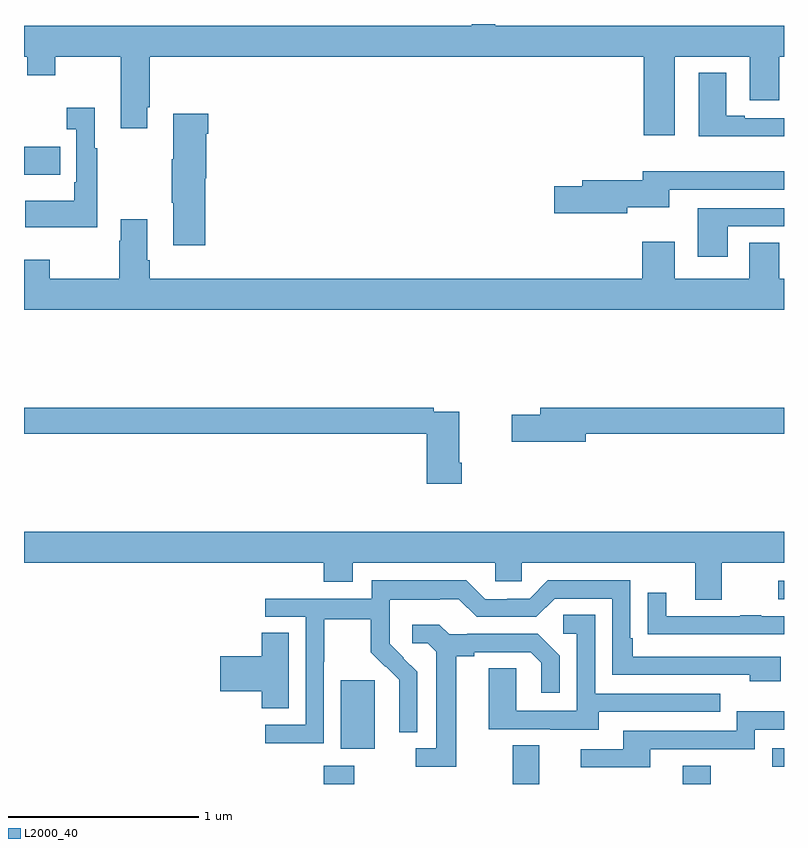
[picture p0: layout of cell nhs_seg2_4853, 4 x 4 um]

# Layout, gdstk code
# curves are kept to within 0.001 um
import gdstk
lib = gdstk.Library(unit=1e-6, precision=1e-09)
def R(c, l, rs):  # rectangles x0, y0, x1, y1
    for r in rs: c.add(gdstk.rectangle(r[:2], r[2:], *l))
def P(c, l, *ps):  # polygons
    for p in ps: c.add(gdstk.Polygon(p, *l))
L2000_40 = (2000, 40)

nhs_seg2_4853 = lib.new_cell('nhs_seg2_4853')
R(nhs_seg2_4853, L2000_40, [(376.577,651.8,376.737,651.895), (377.573,651.8,377.713,652.004), (378.467,651.8,378.615,651.895), (378.939,651.891,379,651.987), (376.667,651.986,376.846,652.347), (378.969,652.773,379,652.869), (375,655.007,375.191,655.155)])
P(nhs_seg2_4853, L2000_40, [(377.479,655.8),(377.357,655.8),(377.357,655.792),(375,655.792),(375,655.628),(375.017,655.628),(375.017,655.529),(375.165,655.529),(375.165,655.628),(375.509,655.628),(375.509,655.251),(375.649,655.251),(375.649,655.363),(375.662,655.363),(375.662,655.628),(378.263,655.628),(378.263,655.215),(378.424,655.215),(378.424,655.628),(378.821,655.628),(378.821,655.398),(378.976,655.398),(378.976,655.628),(379,655.628),(379,655.792),(377.479,655.792)],
  [(379,655.305),(378.793,655.305),(378.793,655.318),(378.697,655.318),(378.697,655.543),(378.551,655.543),(378.551,655.208),(379,655.208)],
  [(375.385,655.147),(375.373,655.147),(375.373,655.36),(375.225,655.36),(375.225,655.247),(375.276,655.247),(375.276,654.967),(375.264,654.967),(375.264,654.871),(375.007,654.871),(375.007,654.731),(375.385,654.731)],
  [(375.953,654.987),(375.958,654.987),(375.958,655.223),(375.971,655.223),(375.971,655.327),(375.785,655.327),(375.785,655.087),(375.778,655.087),(375.778,654.859),(375.785,654.859),(375.785,654.636),(375.953,654.636)],
  [(378.174,654.836),(378.397,654.836),(378.397,654.927),(379,654.927),(379,655.025),(378.257,655.025),(378.257,654.977),(377.939,654.977),(377.939,654.947),(377.79,654.947),(377.79,654.805),(378.174,654.805)],
  [(378.703,654.735),(379,654.735),(379,654.831),(378.545,654.831),(378.545,654.576),(378.703,654.576)],
  [(379,654.46),(378.976,654.46),(378.976,654.65),(378.818,654.65),(378.818,654.46),(378.424,654.46),(378.424,654.655),(378.254,654.655),(378.254,654.46),(375.662,654.46),(375.662,654.556),(375.649,654.556),(375.649,654.772),(375.509,654.772),(375.509,654.659),(375.502,654.659),(375.502,654.46),(375.135,654.46),(375.135,654.559),(375,654.559),(375,654.296),(379,654.296)],
  [(377.956,653.644),(379,653.644),(379,653.78),(377.717,653.78),(377.717,653.744),(377.568,653.744),(377.568,653.602),(377.956,653.602)],
  [(377.303,653.491),(377.29,653.491),(377.29,653.76),(377.156,653.76),(377.156,653.78),(375,653.78),(375,653.644),(377.12,653.644),(377.12,653.379),(377.303,653.379)],
  [(378.673,652.964),(379,652.964),(379,653.128),(375,653.128),(375,652.964),(376.577,652.964),(376.577,652.865),(376.729,652.865),(376.729,652.964),(377.481,652.964),(377.481,652.866),(377.619,652.866),(377.619,652.964),(378.533,652.964),(378.533,652.77),(378.673,652.77)],
  [(376.578,652.444),(376.581,652.444),(376.581,652.668),(376.825,652.668),(376.825,652.493),(376.902,652.416),(376.905,652.419),(376.976,652.349),(376.976,652.226),(376.974,652.226),(376.974,652.072),(377.07,652.072),(377.07,652.39),(376.924,652.538),(376.924,652.635),(376.926,652.635),(376.926,652.769),(377.189,652.769),(377.189,652.773),(377.289,652.773),(377.382,652.68),(377.697,652.68),(377.793,652.776),(378.096,652.776),(378.096,652.374),(378.821,652.374),(378.821,652.34),(378.982,652.34),(378.982,652.47),(378.205,652.47),(378.205,652.567),(378.192,652.567),(378.192,652.872),(377.757,652.872),(377.661,652.776),(377.543,652.776),(377.543,652.773),(377.427,652.773),(377.327,652.873),(376.83,652.873),(376.83,652.776),(376.269,652.776),(376.269,652.68),(376.482,652.68),(376.482,652.113),(376.269,652.113),(376.269,652.015),(376.578,652.015)],
  [(379,652.683),(378.881,652.683),(378.881,652.688),(378.769,652.688),(378.769,652.683),(378.379,652.683),(378.379,652.807),(378.283,652.807),(378.283,652.588),(378.385,652.588),(378.385,652.587),(379,652.587)],
  [(378.025,652.179),(378.665,652.179),(378.665,652.275),(378.006,652.275),(378.006,652.691),(377.838,652.691),(377.838,652.59),(377.91,652.59),(377.91,652.185),(377.592,652.185),(377.592,652.409),(377.447,652.409),(377.447,652.089),(377.771,652.089),(377.771,652.085),(378.025,652.085)],
  [(377.275,652.472),(377.371,652.472),(377.371,652.494),(377.666,652.494),(377.723,652.437),(377.723,652.281),(377.82,652.281),(377.82,652.474),(377.704,652.59),(377.332,652.59),(377.332,652.587),(377.238,652.587),(377.186,652.639),(377.043,652.639),(377.043,652.542),(377.124,652.542),(377.171,652.495),(377.171,651.987),(377.061,651.987),(377.061,651.891),(377.275,651.891)],
  [(376.393,652.595),(376.25,652.595),(376.25,652.472),(376.032,652.472),(376.032,652.289),(376.25,652.289),(376.25,652.198),(376.393,652.198)],
  [(378.295,651.984),(378.846,651.984),(378.846,652.086),(379,652.086),(379,652.183),(378.75,652.183),(378.75,652.08),(378.155,652.08),(378.155,651.984),(377.931,651.984),(377.931,651.888),(378.295,651.888)])

lib.write_gds('nhs_seg2_4853.gds')
